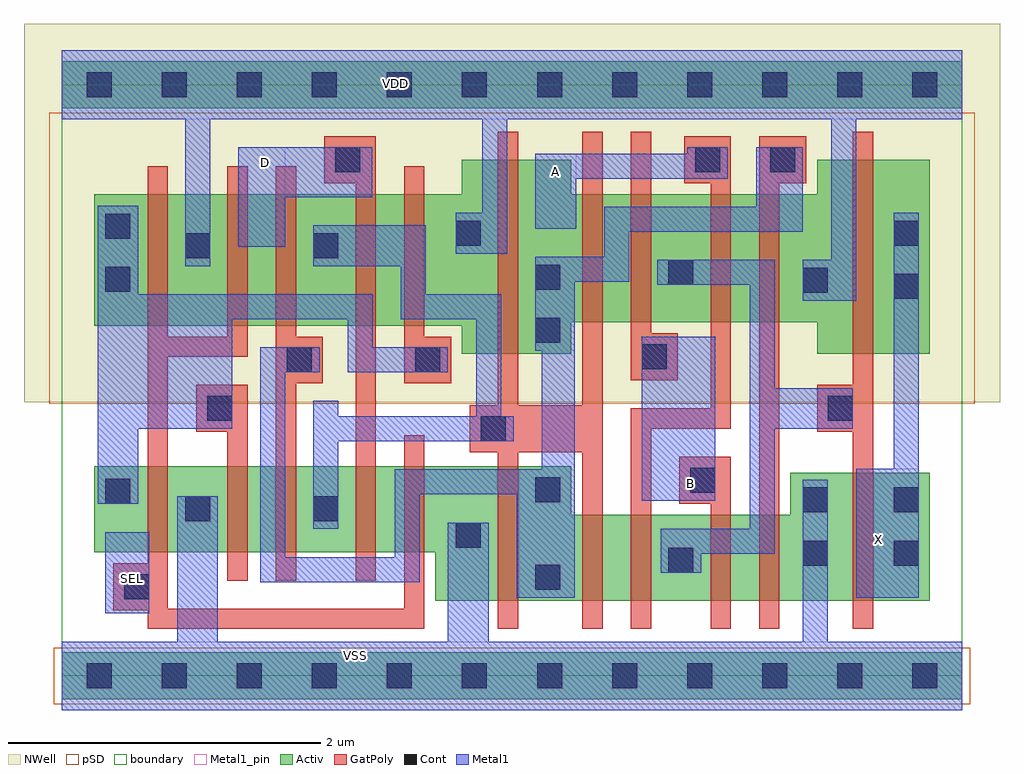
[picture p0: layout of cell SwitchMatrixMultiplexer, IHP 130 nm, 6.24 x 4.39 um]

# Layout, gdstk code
import gdstk
lib = gdstk.Library(unit=1e-6, precision=1e-09)
def R(c, l, rs):  # rectangles x0, y0, x1, y1
    for r in rs: c.add(gdstk.rectangle(r[:2], r[2:], *l))
def A(c, l, x, y, w, h, nx, ny, dx, dy):  # array of equal rectangles
    R(c, l, [(x+i*dx, y+j*dy, x+i*dx+w, y+j*dy+h) for i in range(nx) for j in range(ny)])
def P(c, l, *ps):  # polygons
    for p in ps: c.add(gdstk.Polygon(p, *l))
Activ = (1, 0)
GatPoly = (5, 0)
Cont = (6, 0)
Metal1 = (8, 0)
Metal1_pin = (8, 2)
pSD = (14, 0)
NWell = (31, 0)
boundary = (189, 4)

switchmatrixmultiplexer = lib.new_cell('SwitchMatrixMultiplexer')
R(switchmatrixmultiplexer, Activ, [(0,-0.15,5.76,0.15), (2.39,0.48,3.26,1.34), (2.39,0.48,5.18,1.03), (4.66,0.48,5.55,1.3), (0.21,0.79,3.26,1.34), (0.21,2.24,3.26,3.08), (2.56,2.26,5.55,3.08), (0,3.63,5.76,3.93)])
P(switchmatrixmultiplexer, Activ, [(2.56,2.06),(2.56,2.24),(2.56,3.3),(3.26,3.3),(3.26,2.06)],
  [(4.83,2.06),(4.83,2.26),(4.83,3.3),(5.55,3.3),(5.55,2.06)])
R(switchmatrixmultiplexer, GatPoly, [(0.55,0.3,2.32,0.43), (0.55,0.3,0.68,2.17), (2.19,0.3,2.32,1.54), (2.79,0.3,2.92,3.48), (3.33,0.3,3.46,3.48), (3.64,0.3,3.77,1.71), (4.15,0.3,4.28,1.4), (4.46,0.3,4.59,3.45), (5.06,0.3,5.19,3.48), (0.33,0.42,0.63,0.72), (1.06,0.61,1.19,1.86), (1.37,0.61,1.5,3.26), (1.88,0.61,2.01,1.53), (3.95,1.1,4.25,1.4), (1.88,1.23,2.01,3.45), (2.61,1.43,3.46,1.73), (0.86,1.56,1.16,1.86), (4.83,1.56,5.13,1.86), (3.64,1.58,4.28,1.71), (4.15,1.58,4.28,3.45), (1.37,1.87,1.67,2.17), (2.19,1.87,2.49,2.17), (3.64,1.89,3.94,2.19), (0.55,2.04,0.68,3.26), (0.55,2.04,1.19,2.17), (1.06,2.04,1.19,3.26), (2.19,2.06,2.32,3.26), (3.64,2.09,3.77,3.48), (1.68,3.15,1.98,3.45), (3.98,3.15,4.28,3.45), (4.46,3.15,4.76,3.45)])
A(switchmatrixmultiplexer, Cont, 0.16, -0.08, 0.16, 0.16, 11, 1, 0.48, 0)
A(switchmatrixmultiplexer, Cont, 0.16, 3.7, 0.16, 0.16, 6, 1, 0.48, 0)
A(switchmatrixmultiplexer, Cont, 3.04, 3.7, 0.16, 0.16, 5, 1, 0.48, 0)
R(switchmatrixmultiplexer, Cont, [(4.96,-0.08,5.12,0.08), (5.44,-0.08,5.6,0.08), (0.4,0.49,0.56,0.65), (3.03,0.55,3.19,0.71), (3.88,0.66,4.04,0.82), (4.74,0.705,4.9,0.865), (5.32,0.705,5.48,0.865), (2.52,0.82,2.68,0.98), (0.79,0.99,0.95,1.15), (1.61,0.99,1.77,1.15), (4.74,1.045,4.9,1.205), (5.32,1.045,5.48,1.205), (0.28,1.1,0.44,1.26), (3.03,1.11,3.19,1.27), (4.02,1.17,4.18,1.33), (2.68,1.5,2.84,1.66), (0.93,1.63,1.09,1.79), (4.9,1.63,5.06,1.79), (1.44,1.94,1.6,2.1), (2.26,1.94,2.42,2.1), (3.71,1.96,3.87,2.12), (3.03,2.13,3.19,2.29), (5.32,2.41,5.48,2.57), (4.74,2.45,4.9,2.61), (0.28,2.455,0.44,2.615), (3.03,2.47,3.19,2.63), (3.88,2.5,4.04,2.66), (0.79,2.67,0.95,2.83), (1.61,2.67,1.77,2.83), (2.52,2.75,2.68,2.91), (5.32,2.75,5.48,2.91), (0.28,2.795,0.44,2.955), (1.75,3.22,1.91,3.38), (4.05,3.22,4.21,3.38), (4.53,3.22,4.69,3.38), (2.56,3.7,2.72,3.86), (3.04,3.7,3.2,3.86), (4.96,3.7,5.12,3.86), (5.44,3.7,5.6,3.86)])
R(switchmatrixmultiplexer, Metal1, [(0.74,-0.22,1,1.15), (4.74,-0.22,4.9,1.255), (0.28,0.4,0.56,0.92), (2.91,0.5,3.24,1.32), (3.07,0.5,3.28,2.68), (5.08,0.5,5.48,1.325), (5.32,0.5,5.48,2.96), (1.27,0.6,1.43,2.1), (1.27,0.6,2.29,0.76), (2.13,0.6,2.29,1.32), (3.83,0.66,4.09,0.94), (3.83,0.78,4.56,0.94), (4.4,0.78,4.56,2.66), (1.61,0.94,1.77,1.76), (0.23,1.1,0.49,3.005), (3.71,1.12,4.18,2.17), (2.13,1.16,3.24,1.32), (1.61,1.5,2.89,1.66), (2.65,1.5,2.81,2.44), (0.23,1.58,1.09,2.44), (4.4,1.58,5.06,1.84), (1.83,1.94,1.99,2.44), (3.03,2.08,3.28,2.68), (0.23,2.28,1.99,2.44), (2.17,2.28,2.81,2.44), (2.17,2.28,2.33,2.81), (4.74,2.4,5.08,2.66), (4.92,2.4,5.08,4), (3.81,2.5,4.56,2.66), (3.03,2.52,3.63,2.68), (3.47,2.52,3.63,3), (0.79,2.62,0.95,4), (1.61,2.62,2.33,2.88), (2.52,2.7,2.73,2.96), (2.69,2.7,2.85,4), (1.13,2.745,1.43,3.38), (3.47,2.84,4.74,3), (4.44,2.84,4.74,3.38), (3.03,2.86,3.29,3.34), (1.13,3.06,1.985,3.38), (3.03,3.18,4.26,3.34), (4,3.18,4.26,3.38)])
P(switchmatrixmultiplexer, Metal1, [(1.83,1.94),(1.83,2.01),(1.83,2.1),(2.47,2.1),(2.47,1.94)],
  [(2.47,-0.22),(2.47,0.98),(2.73,0.98),(2.73,0.71),(2.73,-0.22)],
  [(0,-0.22),(0,0.22),(1.375,0.22),(1.635,0.22),(2.735,0.22),(2.995,0.22),(5.76,0.22),(5.76,-0.22)],
  [(0,3.56),(0,4),(5.76,4),(5.76,3.56),(2.93,3.56),(2.33,3.56)],
  [(1.27,1.94),(1.27,2.01),(1.27,2.1),(1.65,2.1),(1.65,1.94)])
R(switchmatrixmultiplexer, Metal1_pin, [(0,-0.22,5.76,0.22), (0.28,0.4,0.56,0.92), (5.08,0.5,5.48,1.325), (3.71,1.12,4.18,2.17), (1.13,2.745,1.43,3.38), (3.03,2.86,3.29,3.34), (0,3.56,5.76,4)])
R(switchmatrixmultiplexer, pSD, [(-0.05,-0.18,5.81,0.18), (-0.08,1.74,5.84,3.6)])
R(switchmatrixmultiplexer, NWell, [(-0.24,1.75,6,4.17)])
R(switchmatrixmultiplexer, boundary, [(0,0,5.76,3.78)])
switchmatrixmultiplexer.add(gdstk.Label('D', (1.305,3.285), layer=8, texttype=25))
switchmatrixmultiplexer.add(gdstk.Label('VSS', (1.88,0.13), layer=8, texttype=25))
switchmatrixmultiplexer.add(gdstk.Label('VDD', (2.135,3.79), layer=8, texttype=25))
switchmatrixmultiplexer.add(gdstk.Label('A', (3.16,3.225), layer=8, texttype=25))
switchmatrixmultiplexer.add(gdstk.Label('B', (4.02,1.23), layer=8, texttype=25))
switchmatrixmultiplexer.add(gdstk.Label('X', (5.225,0.875), layer=8, texttype=25))
switchmatrixmultiplexer.add(gdstk.Label('SEL', (0.455,0.62), layer=8, texttype=25))

lib.write_gds('SwitchMatrixMultiplexer.gds')
